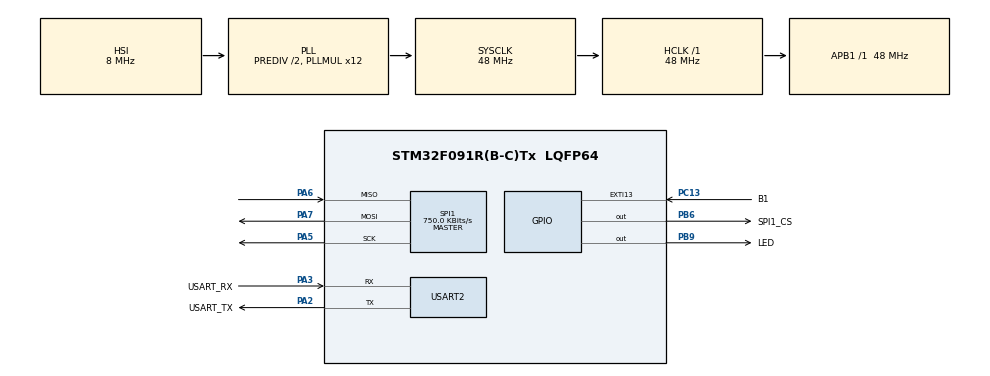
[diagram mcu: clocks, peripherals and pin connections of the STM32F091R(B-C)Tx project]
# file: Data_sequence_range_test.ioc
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Mcu.Family=STM32F0
Mcu.Name=STM32F091R(B-C)Tx
Mcu.Package=LQFP64
NVIC.EXTI4_15_IRQn=true\:0\:0\:false\:false\:true\:true\:true
PA13.GPIO_Label=TMS
PA13.Mode=Serial_Wire
PA13.Signal=SYS_SWDIO
PA14.GPIO_Label=TCK
PA14.Mode=Serial_Wire
PA14.Signal=SYS_SWCLK
PA2.GPIO_Label=USART_TX
PA2.GPIO_Mode=GPIO_MODE_AF_PP
PA2.GPIO_PuPd=GPIO_NOPULL
PA2.GPIO_Speed=GPIO_SPEED_FREQ_LOW
PA2.Mode=Asynchronous
PA2.Signal=USART2_TX
PA3.GPIO_Label=USART_RX
PA3.GPIO_Mode=GPIO_MODE_AF_PP
PA3.GPIO_PuPd=GPIO_NOPULL
PA3.GPIO_Speed=GPIO_SPEED_FREQ_LOW
PA3.Mode=Asynchronous
PA3.Signal=USART2_RX
PA5.Mode=Full_Duplex_Master
PA5.Signal=SPI1_SCK
PA6.Mode=Full_Duplex_Master
PA6.Signal=SPI1_MISO
PA7.Mode=Full_Duplex_Master
PA7.Signal=SPI1_MOSI
PB6.GPIO_Label=SPI1_CS
PB6.PinState=GPIO_PIN_SET
PB6.Signal=GPIO_Output
PB9.GPIO_Label=LED
PB9.Signal=GPIO_Output
PC13.GPIO_Label=B1
PC13.GPIO_ModeDefaultEXTI=GPIO_MODE_IT_FALLING
PC13.Signal=GPXTI13
PC14OSC32_IN.Mode=LSE-External-Oscillator
PC14OSC32_IN.Signal=RCC_OSC32_IN
PC15OSC32_OUT.Mode=LSE-External-Oscillator
PC15OSC32_OUT.Signal=RCC_OSC32_OUT
PF0-OSC_IN.Mode=HSE-External-Clock-Source
PF0-OSC_IN.Signal=RCC_OSC_IN
PF1-OSC_OUT.Signal=RCC_OSC_OUT
ProjectManager.HeapSize=0x200
ProjectManager.StackSize=0x400
ProjectManager.TargetToolchain=STM32CubeIDE
RCC.AHBFreq_Value=48000000
RCC.APB1Freq_Value=48000000
RCC.APB1TimFreq_Value=48000000
RCC.FLatency-AdvancedSettings=FLASH_LATENCY_1
RCC.HCLKFreq_Value=48000000
RCC.PLLDivider=RCC_PREDIV_DIV2
RCC.PLLMUL=RCC_PLL_MUL12
RCC.PREFETCH_ENABLE-AdvancedSettings=1
RCC.SYSCLKFreq_VALUE=48000000
RCC.SYSCLKSource=RCC_SYSCLKSOURCE_PLLCLK
SPI1.BaudRatePrescaler=SPI_BAUDRATEPRESCALER_64
SPI1.CalculateBaudRate=750.0 KBits/s
SPI1.DataSize=SPI_DATASIZE_8BIT
SPI1.Direction=SPI_DIRECTION_2LINES
SPI1.Mode=SPI_MODE_MASTER
SPI1.NSSPMode=SPI_NSS_PULSE_DISABLE
SPI1.VirtualType=VM_MASTER
USART2.VirtualMode=VM_ASYNC
USART2.VirtualMode-Asynchronous=VM_ASYNC
board=NUCLEO-F091RC

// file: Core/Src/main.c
/* USER CODE BEGIN Header */
/**
  ******************************************************************************
  * @file           : main.c
  * @brief          : Main program body
  ******************************************************************************
  * @attention
  *
  * <h2><center>&copy; Copyright (c) 2021 STMicroelectronics.
  * All rights reserved.</center></h2>
  *
  * This software component is licensed by ST under BSD 3-Clause license,
  * the "License"; You may not use this file except in compliance with the
  * License. You may obtain a copy of the License at:
  *                        opensource.org/licenses/BSD-3-Clause
  *
  ******************************************************************************
  */
/* USER CODE END Header */

#include "main.h"

/* USER CODE BEGIN Includes */
#include <stdio.h>
#include <string.h>
/* USER CODE END Includes */

/* USER CODE BEGIN PD */
// Test
const uint8_t stateread = 0x35 | 0xC0;
const uint8_t Stateread2 = 0xF5;

// FIFO REGISTERS
#define TX_FIFO        0x3F

//REGISTER TYPES
#define STATUS_REGISTER  0xC0
#define CONFIG_REGISTER  0x80

// COMMAND STROBES
#define STX                      0x35
#define SFTX					 0x3B

// STATUS REGISTERS
#define PARTNUM        0x30        //PARTNUM Part number for CC1101
#define VERSION        0x31        //VERSION Current version number
#define FREQEST        0x32        //FREQEST Frequency Offset Estimate
#define LQI            0x33        //LQI Demodulator estimate for Link Quality
#define RSSI           0x34        //RSSI Received signal strength indication
#define MARCSTATE      0x35        //MARCSTATE Control state machine state
#define WORTIME1       0x36        //WORTIME1 High byte of WOR timer
#define WORTIME0       0x37        //WORTIME0 Low byte of WOR timer
#define PKTSTATUS      0x38        //PKTSTATUS Current GDOx status and packet status
#define VCO_VC_DAC     0x39        //VCO_VC_DAC Current setting from PLL calibration module
#define TXBYTES        0x3A        //TXBYTES Underflow and number of bytes in the TX FIFO
#define RXBYTES        0x3B        //RXBYTES Overflow and number of bytes in the RX FIFO
#define RCCTRL1_STATUS 0x3C        //RCCTRL1_STATUS Last RC oscillator calibration result
#define RCCTRL0_STATUS 0x3D        //RCCTRL0_STATUS Last RC oscillator calibration result

// CONFIGURATION REGISTERS
#define IOCFG2         0x00        //GDO2 output pin configuration
#define IOCFG1         0x01        //GDO1 output pin configuration
#define IOCFG0         0x02        //GDO0 output pin configuration
#define FIFOTHR        0x03        //RX FIFO and TX FIFO thresholds
#define SYNC1          0x04        //Sync word, high byte
#define SYNC0          0x05        //Sync word, low byte
#define PKTLEN         0x06        //Packet length
#define PKTCTRL1       0x07        //Packet automation control
#define PKTCTRL0       0x08        //Packet automation control
#define ADDR           0x09        //Device address
#define CHANNR         0x0A        //Channel number
#define FSCTRL1        0x0B        //Frequency synthesizer control
#define FSCTRL0        0x0C        //Frequency synthesizer control
#define FREQ2          0x0D        //Frequency control word, high byte
#define FREQ1          0x0E        //Frequency control word, middle byte
#define FREQ0          0x0F        //Frequency control word, low byte
#define MDMCFG4        0x10        //Modem configuration
#define MDMCFG3        0x11        //Modem configuration
#define MDMCFG2        0x12        //Modem configuration
#define MDMCFG1        0x13        //Modem configuration
#define MDMCFG0        0x14        //Modem configuration
#define DEVIATN        0x15        //Modem deviation setting
#define MCSM2          0x16        //Main Radio Control State Machine configuration
#define MCSM1          0x17        //Main Radio Control State Machine configuration
#define MCSM0          0x18        //Main Radio Control State Machine configuration
#define FOCCFG         0x19        //Frequency Offset Compensation configuration
#define BSCFG          0x1A        //Bit Synchronization configuration
#define AGCCTRL2       0x1B        //AGC control
#define AGCCTRL1       0x1C        //AGC control
#define AGCCTRL0       0x1D        //AGC control
#define WOREVT1        0x1E        //High byte Event 0 timeout
#define WOREVT0        0x1F        //Low byte Event 0 timeout
#define WORCTRL        0x20        //Wake On Radio control
#define FREND1         0x21        //Front end RX configuration
#define FREND0         0x22        //Front end TX configuration
#define FSCAL3         0x23        //Frequency synthesizer calibration
#define FSCAL2         0x24        //Frequency synthesizer calibration
#define FSCAL1         0x25        //Frequency synthesizer calibration
#define FSCAL0         0x26        //Frequency synthesizer calibration
#define RCCTRL1        0x27        //RC oscillator configuration
#define RCCTRL0        0x28        //RC oscillator configuration
#define FSTEST         0x29        //Frequency synthesizer calibration control
#define PTEST          0x2A        //Production test
#define AGCTEST        0x2B        //AGC test
#define TEST2          0x2C        //Various test settings
#define TEST1          0x2D        //Various test settings
#define TEST0          0x2E        //Various test settings
/* USER CODE END PD */

SPI_HandleTypeDef hspi1;

UART_HandleTypeDef huart2;

/* USER CODE BEGIN PV */
int state = 1;
int prev_state = 0;
char SPI_BUFFER[8];

/* USER CODE END PV */

void SystemClock_Config(void);
static void MX_GPIO_Init(void);
static void MX_USART2_UART_Init(void);
static void MX_SPI1_Init(void);

/* USER CODE BEGIN 0 */

// Select CS
void CS_Select()  {
	HAL_GPIO_WritePin(SPI1_CS_GPIO_Port, SPI1_CS_Pin,GPIO_PIN_RESET);
}

// Deselect CS
void CS_Deselect()  {
	HAL_GPIO_WritePin(SPI1_CS_GPIO_Port, SPI1_CS_Pin,GPIO_PIN_SET);
}

// Waits until MISO goes low
void wait_Miso() {
	while(HAL_GPIO_ReadPin(GPIOA,GPIO_PIN_6)>0){
		__NOP();
	}
}

//Write to register
void writeReg(uint8_t regAddr, uint8_t value)
{
  CS_Select();                     									   // Select CS
  wait_Miso();                          							   // Wait until MISO goes low
  HAL_SPI_Transmit(&hspi1, (uint8_t*)&regAddr, 1, 100);                // Send register address
  HAL_SPI_Transmit(&hspi1, (uint8_t*)&value, 1, 100);                  // Send value
  CS_Deselect();                    	   							   // Deselect CC1101
}

// Write to register (ONLY USED FOR SETTING THE INTIAL SETTINGS. The name is "halRfWriteReg" so it matches with SMARTRF Studio
void halRfWriteReg(uint8_t setting, uint8_t value)
{
	writeReg(setting, value);
}

// Send command strobe (FIFO_BYTES_AVAILABLE CASE 1)
void command_strobe1(uint8_t cmd){
    cmd = cmd | 0x00;                									// | 0x00 means that R/W=0(FIFO_BYTES_AVAILABLE means the TXFIFO when status byte has been sent)/ burst=0(strobe)
    CS_Select();            		 									// set the CS pin to LOW
    wait_Miso();                          								// Wait until MISO goes low
    HAL_SPI_Transmit(&hspi1, (uint8_t*)&cmd, 1, 100);                   // Send register address
    CS_Deselect();
  }

// Send data
void send_data(char databuffer[],uint8_t length ){
	int i;
	uint8_t element;
	CS_Select();                		 								// set the CS pin to LOW
    wait_Miso();                         								// Wait until MISO goes low
    uint8_t TXfifo = TX_FIFO;
    HAL_SPI_Transmit(&hspi1, (uint8_t*)&TXfifo, 1, 100);               // Access the TX_FIFO register
    HAL_SPI_Transmit(&hspi1, (uint8_t*)&length, 1, 100);				// Send length of data
    for (i = 0; i < length; ++i)
        {
          element = databuffer[i];
		  HAL_SPI_Transmit(&hspi1, (uint8_t*)&TXfifo, 1, 100);               // Send the data
		  HAL_SPI_Transmit(&hspi1, (uint8_t*)&element, 1, 100);                  // Send data
        }
    CS_Deselect();
}
// Send data with sequence numbers
void send_data_sequence(char databuffer[],uint8_t length,uint16_t sequence ){
	int i;
	uint8_t element;
	uint8_t LSB_seq;
	uint8_t MSB_seq;
	LSB_seq = sequence & 0xFF;
	MSB_seq = sequence >> 8;
	CS_Select();                		 								// set the CS pin to LOW
    wait_Miso();                         								// Wait until MISO goes low
    uint8_t TXfifo = TX_FIFO;
    HAL_SPI_Transmit(&hspi1, (uint8_t*)&TXfifo, 1, 100);               // Access the TX_FIFO register
    HAL_SPI_Transmit(&hspi1, (uint8_t*)&length, 1, 100);			   // Send length of data
    HAL_SPI_Transmit(&hspi1, (uint8_t*)&TXfifo, 1, 100);               // Access the TX_FIFO register
    HAL_SPI_Transmit(&hspi1, (uint8_t*)&MSB_seq, 1, 100);			   // Send MSB of sequence number
    HAL_SPI_Transmit(&hspi1, (uint8_t*)&TXfifo, 1, 100);               // Access the TX_FIFO register
    HAL_SPI_Transmit(&hspi1, (uint8_t*)&LSB_seq, 1, 100);			   // Send LSB of sequence number
    for (i = 0; i < length-2; ++i)
        {
          element = databuffer[i];
		  HAL_SPI_Transmit(&hspi1, (uint8_t*)&TXfifo, 1, 100);               // Send the data
		  HAL_SPI_Transmit(&hspi1, (uint8_t*)&element, 1, 100);                  // Send data
        }
    CS_Deselect();
}
// Read register
void readReg(uint8_t regAddr, uint8_t regType) {
    uint8_t addr;
    addr = regAddr | regType;			  								 // Bitwise and to get the right address
    CS_Select();                										 // set the SS pin to LOW
    wait_Miso();                          								 // Wait until MISO goes low
    HAL_SPI_Transmit(&hspi1, (uint8_t*)&addr, 1, 100);                   // Send register address
    HAL_SPI_Receive(&hspi1, (uint8_t*)&SPI_BUFFER, 1, 100);            	 // Read result (need to send dummy message)
    CS_Deselect();                    							 		 // set the SS pin to HIGH

}

/* USER CODE END 0 */

int main(void)
{
  /* USER CODE BEGIN 1 */
	char MSG[100];
	int datalen = 4;   // Set length of payload. Note that the first length byte is not inluded in this.
						// However the 2 sequence bytes are included. Max value is 63.
	char data[datalen];
	int RX_BUFFER[20];
	uint16_t sequence_number = 1;

  /* USER CODE END 1 */

  /* MCU Configuration--------------------------------------------------------*/

  /* Reset of all peripherals, Initializes the Flash interface and the Systick. */
  HAL_Init();

  /* Configure the system clock */
  SystemClock_Config();

  /* Initialize all configured peripherals */
  MX_GPIO_Init();
  MX_USART2_UART_Init();
  MX_SPI1_Init();
  /* USER CODE BEGIN 2 */
  CS_Deselect();
  sprintf(MSG, "Serial Monitor Engaged\r\n");
  HAL_UART_Transmit(&huart2, MSG, sizeof(MSG), 100);
  memset(MSG, 0, sizeof (MSG));

  //SETUP SETTINGS (Imported from SMART RF Studios)
  halRfWriteReg(IOCFG0,0x06);    //GDO0 Output Pin Configuration
  halRfWriteReg(FIFOTHR,0x47);   //RX FIFO and TX FIFO Thresholds
  halRfWriteReg(PKTCTRL0,0x45);  //Packet Automation Control
  halRfWriteReg(FSCTRL1,0x08);   //Frequency Synthesizer Control
  halRfWriteReg(FREQ2,0x10);     //Frequency Control Word, High Byte
  halRfWriteReg(FREQ1,0xEA);     //Frequency Control Word, Middle Byte
  halRfWriteReg(FREQ0,0x56);     //Frequency Control Word, Low Byte
  halRfWriteReg(MDMCFG4,0x7B);   //Modem Configuration
  halRfWriteReg(MDMCFG3,0x83);   //Modem Configuration
  halRfWriteReg(MDMCFG2,0x13);   //Modem Configuration
  halRfWriteReg(DEVIATN,0x42);   //Modem Deviation Setting
  halRfWriteReg(MCSM0,0x18);     //Main Radio Control State Machine Configuration
  halRfWriteReg(FOCCFG,0x1D);    //Frequency Offset Compensation Configuration
  halRfWriteReg(BSCFG,0x1C);     //Bit Synchronization Configuration
  halRfWriteReg(AGCCTRL2,0xC7);  //AGC Control
  halRfWriteReg(AGCCTRL1,0x00);  //AGC Control
  halRfWriteReg(AGCCTRL0,0xB2);  //AGC Control
  halRfWriteReg(WORCTRL,0xFB);   //Wake On Radio Control
  halRfWriteReg(FREND1,0xB6);    //Front End RX Configuration
  halRfWriteReg(FSCAL3,0xEA);    //Frequency Synthesizer Calibration
  halRfWriteReg(FSCAL2,0x2A);    //Frequency Synthesizer Calibration
  halRfWriteReg(FSCAL1,0x00);    //Frequency Synthesizer Calibration
  halRfWriteReg(FSCAL0,0x1F);    //Frequency Synthesizer Calibration
  halRfWriteReg(TEST2,0x81);     //Various Test Settings
  halRfWriteReg(TEST1,0x35);     //Various Test Settings
  halRfWriteReg(TEST0,0x09);     //Various Test Settings
  halRfWriteReg(VERSION,0x14);   //Chip ID
  halRfWriteReg(LQI,0x5C);       //Demodulator Estimate for Link Quality
  halRfWriteReg(RSSI,0x80);      //Received Signal Strength Indication
  halRfWriteReg(MARCSTATE,0x01); //Main Radio Control State Machine State
  halRfWriteReg(VCO_VC_DAC,0x94);//Current Setting from PLL Calibration Module

  // POWER SETTING (has to be done manually without register export)
  halRfWriteReg(0x3E,0xC0); // PATABLE 0 to 10dbm

// Create data array
  int i;
  for (i = 0; i < sizeof(data); ++i)
    {
      data[i] = 2 * i;
    }

  /* USER CODE END 2 */

  /* Infinite loop */
  /* USER CODE BEGIN WHILE */
  while (1)
  {

	  if (state == 1){
		  if (prev_state != 1){
		  readReg(MARCSTATE, STATUS_REGISTER);
		  sprintf(MSG, "MCU_state: 1    Tranceiver_state: %i 	Sent packets: %i\r\n",
				  (unsigned int)SPI_BUFFER[0],(unsigned int)sequence_number);
		  HAL_UART_Transmit(&huart2, MSG, sizeof(MSG), 100);
		  memset(MSG, 0, sizeof MSG);
		  sequence_number = 1;
		  prev_state = 1;

	  	  }

	  }
	  if (state == 2){

		  if (prev_state != 2){

		  readReg(MARCSTATE, STATUS_REGISTER);
		  sprintf(MSG, "MCU_state: 2    Tranceiver_state: %i\r\n", (unsigned int)SPI_BUFFER[0]);
		  HAL_UART_Transmit(&huart2, MSG, sizeof(MSG), 100);
		  memset(MSG, 0, sizeof MSG);

		  readReg(TXBYTES, STATUS_REGISTER);
		  sprintf(MSG, "Amount of bytes in FIFOTX: %i\r\n", (unsigned int)SPI_BUFFER[0]);
		  HAL_UART_Transmit(&huart2, MSG, sizeof(MSG), 100);
		  memset(MSG, 0, sizeof MSG);
		  prev_state = 2;
		  }

		  readReg(TXBYTES, STATUS_REGISTER);
		  if (SPI_BUFFER[0] == 0){

		  send_data_sequence(data, datalen,sequence_number);

		  sequence_number += 1;
		  if (sequence_number > 10000){
			  sequence_number = 1;
		  }
		  }

//		  readReg(TXBYTES, STATUS_REGISTER);
//		  sprintf(MSG, "Amoun of bytes in FIFOTX: %i\r\n", (unsigned int)SPI_BUFFER[0]);
//		  HAL_UART_Transmit(&huart2, MSG, sizeof(MSG), 100);
//		  memset(MSG, 0, sizeof MSG);

		  command_strobe1(STX);
//		  sprintf(MSG, "Gone to TX\r\n");
//		  HAL_UART_Transmit(&huart2, MSG, sizeof(MSG), 100);
//
//		  memset(MSG, 0, sizeof MSG);

		  //command_strobe1(SFTX); VAR FÖRSIKTIG!!!!!!!

	  }
	  HAL_Delay(1);

    /* USER CODE END WHILE */

  }
}

void SystemClock_Config(void)
{
  RCC_OscInitTypeDef RCC_OscInitStruct = {0};
  RCC_ClkInitTypeDef RCC_ClkInitStruct = {0};
  RCC_PeriphCLKInitTypeDef PeriphClkInit = {0};

  /** Initializes the CPU, AHB and APB busses clocks
  */
  RCC_OscInitStruct.OscillatorType = RCC_OSCILLATORTYPE_HSI;
  RCC_OscInitStruct.HSIState = RCC_HSI_ON;
  RCC_OscInitStruct.HSICalibrationValue = RCC_HSICALIBRATION_DEFAULT;
  RCC_OscInitStruct.PLL.PLLState = RCC_PLL_ON;
  RCC_OscInitStruct.PLL.PLLSource = RCC_PLLSOURCE_HSI;
  RCC_OscInitStruct.PLL.PLLMUL = RCC_PLL_MUL12;
  RCC_OscInitStruct.PLL.PREDIV = RCC_PREDIV_DIV2;
  if (HAL_RCC_OscConfig(&RCC_OscInitStruct) != HAL_OK)
  {
    Error_Handler();
  }
  /** Initializes the CPU, AHB and APB busses clocks
  */
  RCC_ClkInitStruct.ClockType = RCC_CLOCKTYPE_HCLK|RCC_CLOCKTYPE_SYSCLK
                              |RCC_CLOCKTYPE_PCLK1;
  RCC_ClkInitStruct.SYSCLKSource = RCC_SYSCLKSOURCE_PLLCLK;
  RCC_ClkInitStruct.AHBCLKDivider = RCC_SYSCLK_DIV1;
  RCC_ClkInitStruct.APB1CLKDivider = RCC_HCLK_DIV1;

  if (HAL_RCC_ClockConfig(&RCC_ClkInitStruct, FLASH_LATENCY_1) != HAL_OK)
  {
    Error_Handler();
  }
  PeriphClkInit.PeriphClockSelection = RCC_PERIPHCLK_USART2;
  PeriphClkInit.Usart2ClockSelection = RCC_USART2CLKSOURCE_PCLK1;
  if (HAL_RCCEx_PeriphCLKConfig(&PeriphClkInit) != HAL_OK)
  {
    Error_Handler();
  }
}

static void MX_SPI1_Init(void)
{

  /* SPI1 parameter configuration*/
  hspi1.Instance = SPI1;
  hspi1.Init.Mode = SPI_MODE_MASTER;
  hspi1.Init.Direction = SPI_DIRECTION_2LINES;
  hspi1.Init.DataSize = SPI_DATASIZE_8BIT;
  hspi1.Init.CLKPolarity = SPI_POLARITY_LOW;
  hspi1.Init.CLKPhase = SPI_PHASE_1EDGE;
  hspi1.Init.NSS = SPI_NSS_SOFT;
  hspi1.Init.BaudRatePrescaler = SPI_BAUDRATEPRESCALER_64;
  hspi1.Init.FirstBit = SPI_FIRSTBIT_MSB;
  hspi1.Init.TIMode = SPI_TIMODE_DISABLE;
  hspi1.Init.CRCCalculation = SPI_CRCCALCULATION_DISABLE;
  hspi1.Init.CRCPolynomial = 7;
  hspi1.Init.CRCLength = SPI_CRC_LENGTH_DATASIZE;
  hspi1.Init.NSSPMode = SPI_NSS_PULSE_DISABLE;
  if (HAL_SPI_Init(&hspi1) != HAL_OK)
  {
    Error_Handler();
  }

}

static void MX_USART2_UART_Init(void)
{

  huart2.Instance = USART2;
  huart2.Init.BaudRate = 115200;
  huart2.Init.WordLength = UART_WORDLENGTH_8B;
  huart2.Init.StopBits = UART_STOPBITS_1;
  huart2.Init.Parity = UART_PARITY_NONE;
  huart2.Init.Mode = UART_MODE_TX_RX;
  huart2.Init.HwFlowCtl = UART_HWCONTROL_NONE;
  huart2.Init.OverSampling = UART_OVERSAMPLING_16;
  huart2.Init.OneBitSampling = UART_ONE_BIT_SAMPLE_DISABLE;
  huart2.AdvancedInit.AdvFeatureInit = UART_ADVFEATURE_NO_INIT;
  if (HAL_UART_Init(&huart2) != HAL_OK)
  {
    Error_Handler();
  }

}

static void MX_GPIO_Init(void)
{
  GPIO_InitTypeDef GPIO_InitStruct = {0};

  /* GPIO Ports Clock Enable */
  __HAL_RCC_GPIOC_CLK_ENABLE();
  __HAL_RCC_GPIOF_CLK_ENABLE();
  __HAL_RCC_GPIOA_CLK_ENABLE();
  __HAL_RCC_GPIOB_CLK_ENABLE();

  /*Configure GPIO pin Output Level */
  HAL_GPIO_WritePin(SPI1_CS_GPIO_Port, SPI1_CS_Pin, GPIO_PIN_SET);

  /*Configure GPIO pin Output Level */
  HAL_GPIO_WritePin(LED_GPIO_Port, LED_Pin, GPIO_PIN_RESET);

  /*Configure GPIO pin : B1_Pin */
  GPIO_InitStruct.Pin = B1_Pin;
  GPIO_InitStruct.Mode = GPIO_MODE_IT_FALLING;
  GPIO_InitStruct.Pull = GPIO_NOPULL;
  HAL_GPIO_Init(B1_GPIO_Port, &GPIO_InitStruct);

  /*Configure GPIO pins : SPI1_CS_Pin LED_Pin */
  GPIO_InitStruct.Pin = SPI1_CS_Pin|LED_Pin;
  GPIO_InitStruct.Mode = GPIO_MODE_OUTPUT_PP;
  GPIO_InitStruct.Pull = GPIO_NOPULL;
  GPIO_InitStruct.Speed = GPIO_SPEED_FREQ_LOW;
  HAL_GPIO_Init(GPIOB, &GPIO_InitStruct);

  /* EXTI interrupt init*/
  HAL_NVIC_SetPriority(EXTI4_15_IRQn, 0, 0);
  HAL_NVIC_EnableIRQ(EXTI4_15_IRQn);

}

/* USER CODE BEGIN 4 */
void  HAL_GPIO_EXTI_Callback(u_int16_t GPIO_Pin){

	if (GPIO_Pin == B1_Pin) {
		HAL_GPIO_TogglePin(LED_GPIO_Port, LED_Pin);
		if (state == 1){
			state =2;
			  }
		else {
			state = 1;
		}

	}
	else{
		__NOP();
	}

}
/* USER CODE END 4 */

void Error_Handler(void)
{
}

/************************ (C) COPYRIGHT STMicroelectronics *****END OF FILE****/
